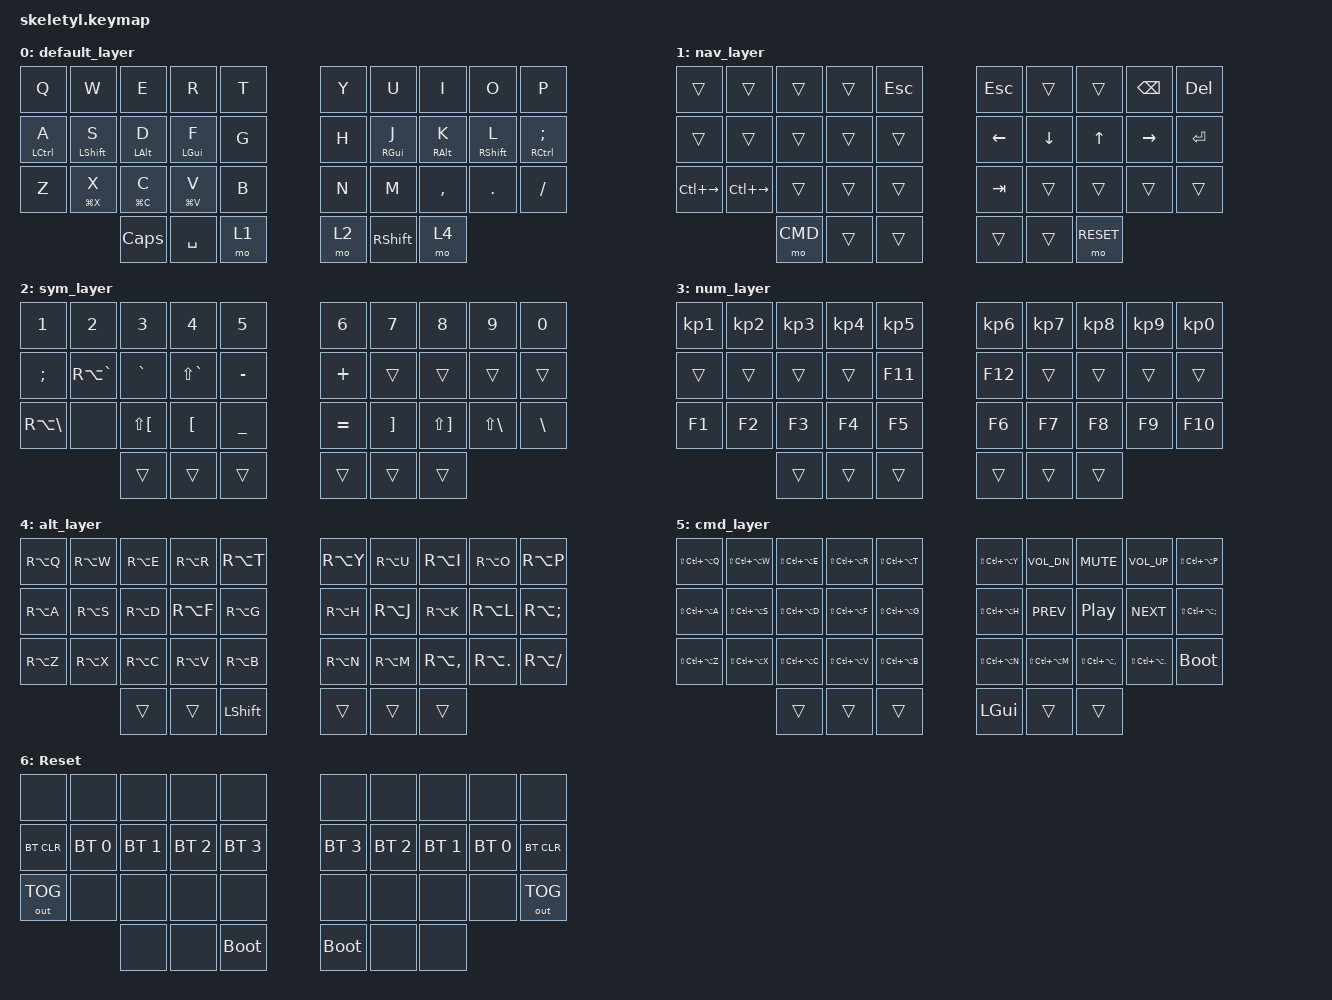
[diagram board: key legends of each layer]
#include <behaviors.dtsi>
#include <dt-bindings/zmk/bt.h>
#include <dt-bindings/zmk/keys.h>
#include <dt-bindings/zmk/outputs.h>

#define KEYS_L 0 1 2 3 4 10 11 12 13 14 20 21 22 23 24
#define KEYS_R 5 6 7 8 9 15 16 17 18 19 25 26 27 28 29
#define THUMBS 30 31 32 33 34 35
#define DEF 0
#define NAV 1
#define SYM 2
#define NUM 3
#define ALT 4
#define CMD 5
#define RESET 6

&mt { flavor = "tap-preferred"; };

&lt {
    flavor = "balanced";
    tapping-term-ms = <200>;
    quick-tap-ms = <175>;
};

/ {
    behaviors {
        hml_s: hml_s {
            compatible = "zmk,behavior-hold-tap";
            #binding-cells = <2>;
            flavor = "balanced";
            tapping-term-ms = <2000>;
            quick-tap-ms = <175>;
            require-prior-idle-ms = <0>;
            hold-trigger-key-positions = <KEYS_R THUMBS>;
            hold-trigger-on-release;
            bindings = <&kp>, <&kp>;
        };

        hmr_s: hmr_s {
            compatible = "zmk,behavior-hold-tap";
            #binding-cells = <2>;
            flavor = "balanced";
            tapping-term-ms = <2000>;
            quick-tap-ms = <175>;
            require-prior-idle-ms = <0>;
            hold-trigger-key-positions = <KEYS_L THUMBS>;
            hold-trigger-on-release;
            bindings = <&kp>, <&kp>;
        };
    };

    combos {
        compatible = "zmk,combos";
        timeout-ms = <20>;
        require-prior-idle-ms = <250>;
    };

    conditional_layers {
        compatible = "zmk,conditional-layers";

        num_layer {
            if-layers = <1 2>;
            then-layer = <3>;
        };
    };


    keymap {
        compatible = "zmk,keymap";

        default_layer {
            bindings = <
&kp Q           &kp W            &kp E          &kp R              &kp T  &kp Y  &kp U          &kp I          &kp O            &kp P
&hml_s LCTRL A  &hml_s LSHIFT S  &hml_s LALT D  &hml_s LEFT_GUI F  &kp G  &kp H  &hmr_s RGUI J  &hmr_s RALT K  &hmr_s RSHIFT L  &hmr_s RCTRL SEMI
&kp Z           &mt LG(X) X      &mt LG(C) C    &mt LG(V) V        &kp B  &kp N  &kp M          &kp COMMA      &kp DOT          &kp FSLH
                                 &kp CAPSLOCK   &kp SPACE          &mo 1  &mo 2  &kp RSHIFT     &mo 4
            >;
        };

        nav_layer {
            bindings = <
&trans         &trans          &trans  &trans  &kp ESC  &kp ESC   &trans    &trans  &kp BSPC   &kp DEL
&trans         &trans          &trans  &trans  &trans   &kp LEFT  &kp DOWN  &kp UP  &kp RIGHT  &kp RET
&kp LC(RIGHT)  &kp LC(RIGHT)   &trans  &trans  &trans   &kp TAB   &trans    &trans  &trans     &trans
                &mo CMD        &trans  &trans  &trans   &trans    &mo RESET
            >;
        };

        sym_layer {
            bindings = <
&kp N1         &kp N2         &kp N3         &kp N4        &kp N5            &kp N6         &kp N7         &kp N8         &kp N9         &kp N0
&kp SEMI       &kp RA(GRAVE)  &kp GRAVE      &kp LS(GRAVE) &kp MINUS         &kp PLUS       &trans         &trans         &trans         &trans
&kp RA(BSLH)   &none          &kp LS(LBKT)   &kp LBKT      &kp UNDER         &kp EQUAL      &kp RBKT       &kp LS(RBKT)   &kp LS(BSLH)   &kp BSLH
                              &trans         &trans        &trans            &trans         &trans         &trans
            >;
        };

        num_layer {
            bindings = <
&kp KP_N1      &kp KP_N2      &kp KP_N3      &kp KP_N4     &kp KP_N5         &kp KP_N6      &kp KP_N7      &kp KP_N8        &kp KP_N9      &kp KP_N0
&trans         &trans         &trans         &trans        &kp F11           &kp F12        &trans         &trans           &trans         &trans
&kp F1         &kp F2         &kp F3         &kp F4        &kp F5            &kp F6         &kp F7         &kp F8           &kp F9         &kp F10
                              &trans         &trans        &trans            &trans         &trans         &trans
            >;
        };

        alt_layer {
            bindings = <
&kp RA(Q)      &kp RA(W)      &kp RA(E)      &kp RA(R)     &kp RA(T)         &kp RA(Y)      &kp RA(U)      &kp RA(I)      &kp RA(O)      &kp RA(P)
&kp RA(A)      &kp RA(S)      &kp RA(D)      &kp RA(F)     &kp RA(G)         &kp RA(H)      &kp RA(J)      &kp RA(K)      &kp RA(L)      &kp RA(SEMI)
&kp RA(Z)      &kp RA(X)      &kp RA(C)      &kp RA(V)     &kp RA(B)         &kp RA(N)      &kp RA(M)      &kp RA(COMMA)  &kp RA(DOT)    &kp RA(FSLH)
                              &trans         &trans        &kp LSHFT         &trans         &trans         &trans
                    >;
        };

        cmd_layer {
            bindings = <
&kp LS(LC(LA(Q)))     &kp LS(LC(LA(W)))     &kp LS(LC(LA(E)))     &kp LS(LC(LA(R)))    &kp LS(LC(LA(T)))        &kp LS(LC(LA(Y)))     &kp C_VOL_DN        &kp C_MUTE            &kp C_VOL_UP         &kp LS(LC(LA(P)))
&kp LS(LC(LA(A)))     &kp LS(LC(LA(S)))     &kp LS(LC(LA(D)))     &kp LS(LC(LA(F)))    &kp LS(LC(LA(G)))        &kp LS(LC(LA(H)))     &kp C_PREV          &kp C_PP              &kp C_NEXT           &kp LS(LC(LA(SEMI)))
&kp LS(LC(LA(Z)))     &kp LS(LC(LA(X)))     &kp LS(LC(LA(C)))     &kp LS(LC(LA(V)))    &kp LS(LC(LA(B)))        &kp LS(LC(LA(N)))     &kp LS(LC(LA(M)))   &kp LS(LC(LA(COMMA))) &kp LS(LC(LA(DOT)))  &bootloader
                                            &trans                &trans               &trans                   &kp LGUI              &trans              &trans
                    >;
        };

        Reset {
            bindings = <
&none         &none         &none         &none         &none         &none         &none         &none         &none         &none
&bt BT_CLR    &bt BT_SEL 0  &bt BT_SEL 1  &bt BT_SEL 2  &bt BT_SEL 3  &bt BT_SEL 3  &bt BT_SEL 2  &bt BT_SEL 1  &bt BT_SEL 0  &bt BT_CLR
&out OUT_TOG  &none         &none         &none         &none         &none         &none         &none         &none         &out OUT_TOG
                            &none         &none         &bootloader   &bootloader   &none         &none
            >;
        };
    };


};
